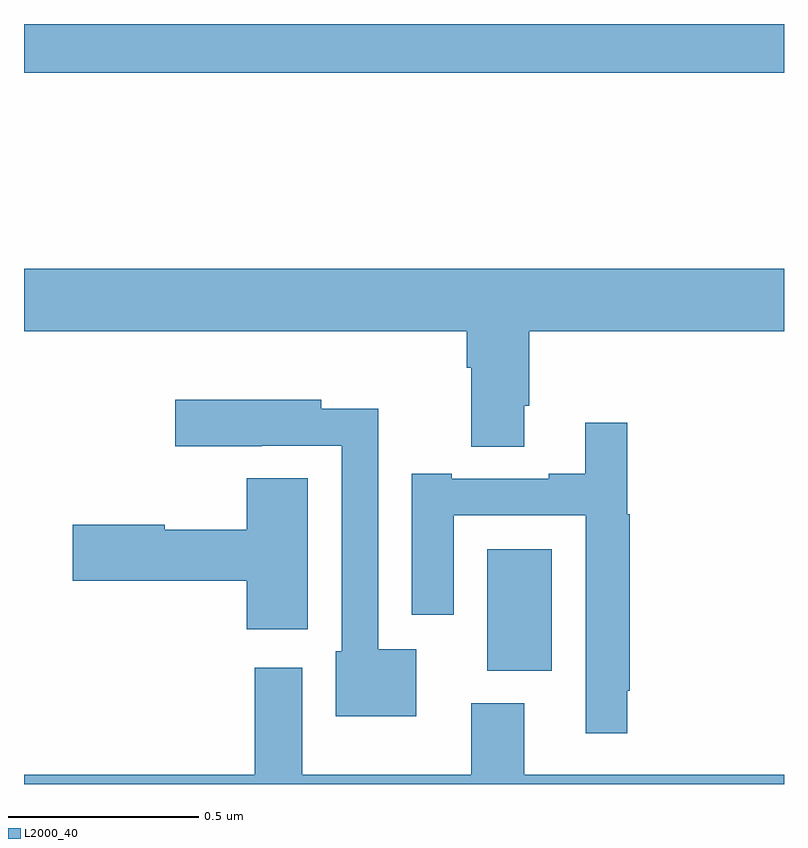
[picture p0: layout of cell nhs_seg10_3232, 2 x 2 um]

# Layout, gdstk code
import gdstk
lib = gdstk.Library(unit=1e-6, precision=1e-09)
def R(c, l, rs):  # rectangles x0, y0, x1, y1
    for r in rs: c.add(gdstk.rectangle(r[:2], r[2:], *l))
def P(c, l, *ps):  # polygons
    for p in ps: c.add(gdstk.Polygon(p, *l))
L2000_40 = (2000, 40)

nhs_seg10_3232 = lib.new_cell('nhs_seg10_3232')
R(nhs_seg10_3232, L2000_40, [(152.219,1256.798,152.389,1257.118), (151,1258.372,153,1258.5)])
P(nhs_seg10_3232, L2000_40, [(152.317,1257.496),(152.33,1257.496),(152.33,1257.692),(153,1257.692),(153,1257.856),(151,1257.856),(151,1257.692),(152.165,1257.692),(152.165,1257.596),(152.177,1257.596),(152.177,1257.388),(152.317,1257.388)],
  [(152.032,1256.854),(151.932,1256.854),(151.932,1257.488),(151.782,1257.488),(151.782,1257.511),(151.398,1257.511),(151.398,1257.389),(151.625,1257.389),(151.625,1257.39),(151.836,1257.39),(151.836,1256.85),(151.82,1256.85),(151.82,1256.678),(152.032,1256.678)],
  [(152.587,1256.746),(152.594,1256.746),(152.594,1257.21),(152.587,1257.21),(152.587,1257.451),(152.477,1257.451),(152.477,1257.316),(152.381,1257.316),(152.381,1257.303),(152.125,1257.303),(152.125,1257.316),(152.021,1257.316),(152.021,1256.946),(152.131,1256.946),(152.131,1257.207),(152.478,1257.207),(152.478,1256.634),(152.587,1256.634)],
  [(151.747,1257.304),(151.586,1257.304),(151.586,1257.169),(151.371,1257.169),(151.371,1257.182),(151.128,1257.182),(151.128,1257.035),(151.586,1257.035),(151.586,1256.907),(151.747,1256.907)],
  [(153,1256.524),(152.317,1256.524),(152.317,1256.713),(152.177,1256.713),(152.177,1256.524),(151.732,1256.524),(151.732,1256.806),(151.607,1256.806),(151.607,1256.524),(151,1256.524),(151,1256.5),(153,1256.5)])

lib.write_gds('nhs_seg10_3232.gds')
